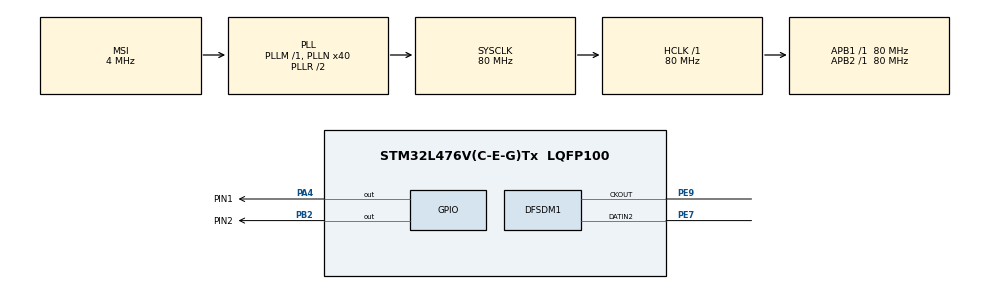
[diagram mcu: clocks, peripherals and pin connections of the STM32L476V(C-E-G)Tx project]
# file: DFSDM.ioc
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DFSDM1.Divider=40
DFSDM1.DmaMode_reg_FIL0=ENABLE
DFSDM1.FastMode_reg_FIL0=ENABLE
DFSDM1.FilterOrder_CH2=DFSDM_CHANNEL_FASTSINC_ORDER
DFSDM1.Filter_regChannel_FIL0=DFSDM_CHANNEL_2
DFSDM1.Fosr_FIL0=250
DFSDM1.SincOrder_FIL0=DFSDM_FILTER_SINC3_ORDER
Dma.DFSDM1_FLT0.0.Direction=DMA_PERIPH_TO_MEMORY
Dma.DFSDM1_FLT0.0.Instance=DMA1_Channel4
Dma.DFSDM1_FLT0.0.MemDataAlignment=DMA_MDATAALIGN_WORD
Dma.DFSDM1_FLT0.0.MemInc=DMA_MINC_ENABLE
Dma.DFSDM1_FLT0.0.Mode=DMA_CIRCULAR
Dma.DFSDM1_FLT0.0.PeriphDataAlignment=DMA_PDATAALIGN_WORD
Dma.DFSDM1_FLT0.0.PeriphInc=DMA_PINC_DISABLE
Dma.DFSDM1_FLT0.0.Priority=DMA_PRIORITY_LOW
Dma.Request0=DFSDM1_FLT0
FREERTOS.Tasks01=defaultTask,24,128,StartDefaultTask,Default,NULL,Dynamic,NULL,NULL
Mcu.Family=STM32L4
Mcu.Name=STM32L476V(C-E-G)Tx
Mcu.Package=LQFP100
NVIC.DMA1_Channel4_IRQn=true\:5\:0\:false\:false\:true\:true\:false\:true\:true
NVIC.PriorityGroup=NVIC_PRIORITYGROUP_4
NVIC.TIM6_DAC_IRQn=true\:15\:0\:false\:false\:true\:false\:false\:true\:true
NVIC.TimeBase=TIM6_DAC_IRQn
NVIC.TimeBaseIP=TIM6
PA4.GPIO_Label=PIN1
PA4.Signal=GPIO_Output
PB2.GPIO_Label=PIN2
PB2.Signal=GPIO_Output
PE7.Signal=S_DATAIN2DFSDM1
PE9.Signal=S_CKOUTDFSDM1
ProjectManager.HeapSize=0x200
ProjectManager.StackSize=0x400
ProjectManager.TargetToolchain=STM32CubeIDE
RCC.AHBFreq_Value=80000000
RCC.APB1Freq_Value=80000000
RCC.APB1TimFreq_Value=80000000
RCC.APB2Freq_Value=80000000
RCC.APB2TimFreq_Value=80000000
RCC.CortexFreq_Value=80000000
RCC.HCLKFreq_Value=80000000
RCC.HSE_VALUE=8000000
RCC.HSI_VALUE=16000000
RCC.LSE_VALUE=32768
RCC.MSI_VALUE=4000000
RCC.PLLN=40
RCC.SYSCLKFreq_VALUE=80000000
RCC.SYSCLKSource=RCC_SYSCLKSOURCE_PLLCLK
RCC.VCOOutputFreq_Value=160000000
SH.S_CKOUTDFSDM1.0=DFSDM1_CKOUT,CKOUT
SH.S_CKOUTDFSDM1.1=DFSDM1_CKOUT,PDM_SPI_input_from_ch2_and_internal_clock
SH.S_DATAIN2DFSDM1.0=DFSDM1_DATIN2,PDM_SPI_input_from_ch2_and_internal_clock
VP_FREERTOS_VS_CMSIS_V2.Mode=CMSIS_V2
VP_SYS_VS_tim6.Mode=TIM6
board=custom

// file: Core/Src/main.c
/* USER CODE BEGIN Header */
/**
  ******************************************************************************
  * @file           : main.c
  * @brief          : Main program body
  ******************************************************************************
  * @attention
  *
  * Copyright (c) 2026 STMicroelectronics.
  * All rights reserved.
  *
  * This software is licensed under terms that can be found in the LICENSE file
  * in the root directory of this software component.
  * If no LICENSE file comes with this software, it is provided AS-IS.
  *
  ******************************************************************************
  */
/* USER CODE END Header */
#include "main.h"
#include "cmsis_os.h"

DFSDM_Filter_HandleTypeDef hdfsdm1_filter0;
DFSDM_Channel_HandleTypeDef hdfsdm1_channel2;
DMA_HandleTypeDef hdma_dfsdm1_flt0;

/* Definitions for defaultTask */
osThreadId_t defaultTaskHandle;
const osThreadAttr_t defaultTask_attributes = {
  .name = "defaultTask",
  .stack_size = 128 * 4,
  .priority = (osPriority_t) osPriorityNormal,
};
/* USER CODE BEGIN PV */
#define AUDIO_REC 1024
int32_t RecBuf[AUDIO_REC];
int32_t PlayBuf[AUDIO_REC];              /* audio with the low 8 status bits removed (video part 2) */
volatile uint8_t DmaRecHalfBuffCplt = 0; /* set when the top half of RecBuf is full */
volatile uint8_t DmaRecBuffCplt = 0;     /* set when the bottom half of RecBuf is full */
/* USER CODE END PV */

void SystemClock_Config(void);
static void MX_GPIO_Init(void);
static void MX_DMA_Init(void);
static void MX_DFSDM1_Init(void);
void StartDefaultTask(void *argument);

int main(void)
{

  /* MCU Configuration--------------------------------------------------------*/

  /* Reset of all peripherals, Initializes the Flash interface and the Systick. */
  HAL_Init();

  /* Configure the system clock */
  SystemClock_Config();

  /* Initialize all configured peripherals */
  MX_GPIO_Init();
  MX_DMA_Init();
  MX_DFSDM1_Init();
  /* USER CODE BEGIN 2 */
  HAL_DFSDM_FilterRegularStart_DMA(&hdfsdm1_filter0, RecBuf, AUDIO_REC);
  /* USER CODE END 2 */

  /* Init scheduler */
  osKernelInitialize();

  /* Create the thread(s) */
  /* creation of defaultTask */
  defaultTaskHandle = osThreadNew(StartDefaultTask, NULL, &defaultTask_attributes);

  /* Start scheduler */
  osKernelStart();

  /* We should never get here as control is now taken by the scheduler */

  /* Infinite loop */
  while (1)
  {

  }
}

void SystemClock_Config(void)
{
  RCC_OscInitTypeDef RCC_OscInitStruct = {0};
  RCC_ClkInitTypeDef RCC_ClkInitStruct = {0};

  /** Configure the main internal regulator output voltage
  */
  if (HAL_PWREx_ControlVoltageScaling(PWR_REGULATOR_VOLTAGE_SCALE1) != HAL_OK)
  {
    Error_Handler();
  }

  /** Initializes the RCC Oscillators according to the specified parameters
  * in the RCC_OscInitTypeDef structure.
  */
  RCC_OscInitStruct.OscillatorType = RCC_OSCILLATORTYPE_MSI;
  RCC_OscInitStruct.MSIState = RCC_MSI_ON;
  RCC_OscInitStruct.MSICalibrationValue = 0;
  RCC_OscInitStruct.MSIClockRange = RCC_MSIRANGE_6;
  RCC_OscInitStruct.PLL.PLLState = RCC_PLL_ON;
  RCC_OscInitStruct.PLL.PLLSource = RCC_PLLSOURCE_MSI;
  RCC_OscInitStruct.PLL.PLLM = 1;
  RCC_OscInitStruct.PLL.PLLN = 40;
  RCC_OscInitStruct.PLL.PLLP = RCC_PLLP_DIV7;
  RCC_OscInitStruct.PLL.PLLQ = RCC_PLLQ_DIV2;
  RCC_OscInitStruct.PLL.PLLR = RCC_PLLR_DIV2;
  if (HAL_RCC_OscConfig(&RCC_OscInitStruct) != HAL_OK)
  {
    Error_Handler();
  }

  /** Initializes the CPU, AHB and APB buses clocks
  */
  RCC_ClkInitStruct.ClockType = RCC_CLOCKTYPE_HCLK|RCC_CLOCKTYPE_SYSCLK
                              |RCC_CLOCKTYPE_PCLK1|RCC_CLOCKTYPE_PCLK2;
  RCC_ClkInitStruct.SYSCLKSource = RCC_SYSCLKSOURCE_PLLCLK;
  RCC_ClkInitStruct.AHBCLKDivider = RCC_SYSCLK_DIV1;
  RCC_ClkInitStruct.APB1CLKDivider = RCC_HCLK_DIV1;
  RCC_ClkInitStruct.APB2CLKDivider = RCC_HCLK_DIV1;

  if (HAL_RCC_ClockConfig(&RCC_ClkInitStruct, FLASH_LATENCY_4) != HAL_OK)
  {
    Error_Handler();
  }
}

static void MX_DFSDM1_Init(void)
{

  hdfsdm1_filter0.Instance = DFSDM1_Filter0;
  hdfsdm1_filter0.Init.RegularParam.Trigger = DFSDM_FILTER_SW_TRIGGER;
  hdfsdm1_filter0.Init.RegularParam.FastMode = ENABLE;
  hdfsdm1_filter0.Init.RegularParam.DmaMode = ENABLE;
  hdfsdm1_filter0.Init.FilterParam.SincOrder = DFSDM_FILTER_SINC3_ORDER;
  hdfsdm1_filter0.Init.FilterParam.Oversampling = 250;
  hdfsdm1_filter0.Init.FilterParam.IntOversampling = 1;
  if (HAL_DFSDM_FilterInit(&hdfsdm1_filter0) != HAL_OK)
  {
    Error_Handler();
  }
  hdfsdm1_channel2.Instance = DFSDM1_Channel2;
  hdfsdm1_channel2.Init.OutputClock.Activation = ENABLE;
  hdfsdm1_channel2.Init.OutputClock.Selection = DFSDM_CHANNEL_OUTPUT_CLOCK_SYSTEM;
  hdfsdm1_channel2.Init.OutputClock.Divider = 40;
  hdfsdm1_channel2.Init.Input.Multiplexer = DFSDM_CHANNEL_EXTERNAL_INPUTS;
  hdfsdm1_channel2.Init.Input.DataPacking = DFSDM_CHANNEL_STANDARD_MODE;
  hdfsdm1_channel2.Init.Input.Pins = DFSDM_CHANNEL_SAME_CHANNEL_PINS;
  hdfsdm1_channel2.Init.SerialInterface.Type = DFSDM_CHANNEL_SPI_RISING;
  hdfsdm1_channel2.Init.SerialInterface.SpiClock = DFSDM_CHANNEL_SPI_CLOCK_INTERNAL;
  hdfsdm1_channel2.Init.Awd.FilterOrder = DFSDM_CHANNEL_FASTSINC_ORDER;
  hdfsdm1_channel2.Init.Awd.Oversampling = 1;
  hdfsdm1_channel2.Init.Offset = 0;
  hdfsdm1_channel2.Init.RightBitShift = 0x00;
  if (HAL_DFSDM_ChannelInit(&hdfsdm1_channel2) != HAL_OK)
  {
    Error_Handler();
  }
  if (HAL_DFSDM_FilterConfigRegChannel(&hdfsdm1_filter0, DFSDM_CHANNEL_2, DFSDM_CONTINUOUS_CONV_ON) != HAL_OK)
  {
    Error_Handler();
  }

}

static void MX_DMA_Init(void)
{

  /* DMA controller clock enable */
  __HAL_RCC_DMA1_CLK_ENABLE();

  /* DMA interrupt init */
  /* DMA1_Channel4_IRQn interrupt configuration */
  HAL_NVIC_SetPriority(DMA1_Channel4_IRQn, 5, 0);
  HAL_NVIC_EnableIRQ(DMA1_Channel4_IRQn);

}

static void MX_GPIO_Init(void)
{
  GPIO_InitTypeDef GPIO_InitStruct = {0};

  /* GPIO Ports Clock Enable */
  __HAL_RCC_GPIOA_CLK_ENABLE();
  __HAL_RCC_GPIOB_CLK_ENABLE();
  __HAL_RCC_GPIOE_CLK_ENABLE();

  /*Configure GPIO pin Output Level */
  HAL_GPIO_WritePin(PIN1_GPIO_Port, PIN1_Pin, GPIO_PIN_RESET);

  /*Configure GPIO pin Output Level */
  HAL_GPIO_WritePin(PIN2_GPIO_Port, PIN2_Pin, GPIO_PIN_RESET);

  /*Configure GPIO pin : PIN1_Pin */
  GPIO_InitStruct.Pin = PIN1_Pin;
  GPIO_InitStruct.Mode = GPIO_MODE_OUTPUT_PP;
  GPIO_InitStruct.Pull = GPIO_NOPULL;
  GPIO_InitStruct.Speed = GPIO_SPEED_FREQ_LOW;
  HAL_GPIO_Init(PIN1_GPIO_Port, &GPIO_InitStruct);

  /*Configure GPIO pin : PIN2_Pin */
  GPIO_InitStruct.Pin = PIN2_Pin;
  GPIO_InitStruct.Mode = GPIO_MODE_OUTPUT_PP;
  GPIO_InitStruct.Pull = GPIO_NOPULL;
  GPIO_InitStruct.Speed = GPIO_SPEED_FREQ_LOW;
  HAL_GPIO_Init(PIN2_GPIO_Port, &GPIO_InitStruct);

}

/* USER CODE BEGIN 4 */
/* Top half of RecBuf filled by DMA -> toggle PIN1 (PA4, Arduino D7) */
void HAL_DFSDM_FilterRegConvHalfCpltCallback(DFSDM_Filter_HandleTypeDef *hdfsdm_filter)
{
  if (hdfsdm_filter == &hdfsdm1_filter0)
  {
    HAL_GPIO_TogglePin(PIN1_GPIO_Port, PIN1_Pin);
    DmaRecHalfBuffCplt = 1;
  }
}

/* Bottom half of RecBuf filled by DMA -> toggle PIN2 (PB2, Arduino D8) */
void HAL_DFSDM_FilterRegConvCpltCallback(DFSDM_Filter_HandleTypeDef *hdfsdm_filter)
{
  if (hdfsdm_filter == &hdfsdm1_filter0)
  {
    HAL_GPIO_TogglePin(PIN2_GPIO_Port, PIN2_Pin);
    DmaRecBuffCplt = 1;
  }
}
/* USER CODE END 4 */

void StartDefaultTask(void *argument)
{
  /* USER CODE BEGIN 5 */
  /* Infinite loop */
  /* The video does this in main's while(1); with FreeRTOS running, main never
     reaches that loop, so the same work happens here in the task instead. */
  for(;;)
  {
    if (DmaRecHalfBuffCplt)
    {
      for (int i = 0; i < AUDIO_REC / 2; i++)
      {
        PlayBuf[i] = RecBuf[i] >> 8;   /* drop the 8 status bits, keep the 24-bit audio */
      }
      DmaRecHalfBuffCplt = 0;
    }
    if (DmaRecBuffCplt)
    {
      for (int i = AUDIO_REC / 2; i < AUDIO_REC; i++)
      {
        PlayBuf[i] = RecBuf[i] >> 8;
      }
      DmaRecBuffCplt = 0;
    }
    osDelay(1);
  }
  /* USER CODE END 5 */
}

void HAL_TIM_PeriodElapsedCallback(TIM_HandleTypeDef *htim)
{
  if (htim->Instance == TIM6)
  {
    HAL_IncTick();
  }
}

void Error_Handler(void)
{
  __disable_irq();
  while (1)
  {
  }
}
